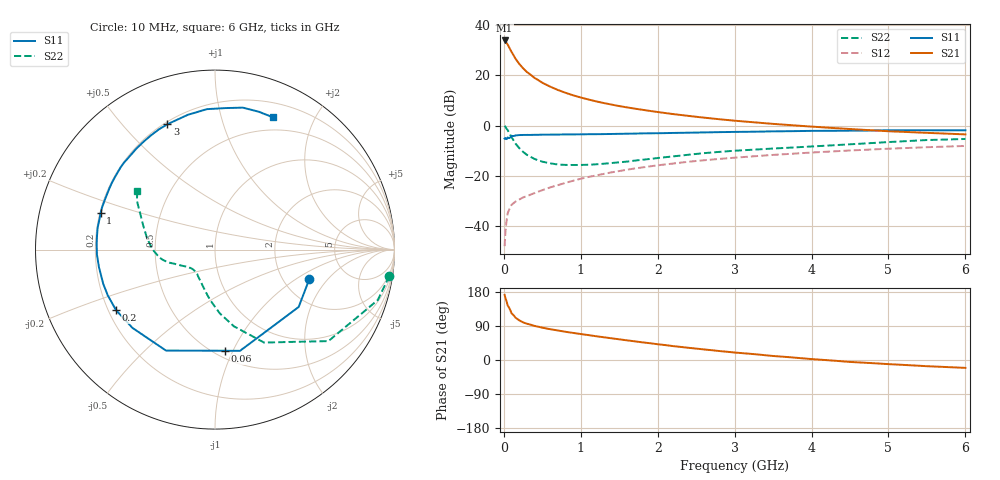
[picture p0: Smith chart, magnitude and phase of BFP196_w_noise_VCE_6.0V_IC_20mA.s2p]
! Infineon Technologies  Discrete & RF Semiconductors
! BFP196
! VCE =  6.0 V,  IC =  20 mA
! Common Emitter S-Parameters:  Jan 2017
# GHz  S  MA  R  50
!  f  S11  S21  S12  S22
! GHz  MAG  ANG  MAG  ANG  MAG  ANG  MAG  ANG
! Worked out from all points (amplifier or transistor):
!   77 points, 10 MHz to 6 GHz, reference 50 ohm
!   highest |S21| = 33.8 dB at 10 MHz (marker M1)
!   |S21| within 3 dB of that: start of sweep to 73.41 MHz
!   unconditionally stable (mu >= 1): 793.9 MHz to 2.384 GHz
!   at 130 MHz: K = 0.37, MSG = 29.2 dB, |S12| = -30.8 dB
!   at 2.2 GHz: K = 1.02, MAG = 9.1 dB, |S12| = -15.1 dB
!   at 6 GHz: K = 0.92, MSG = 2.3 dB, |S12| = -8.1 dB
!   lowest NFmin = 1.10 dB at 450 MHz
!   S11 on the Smith chart (normalised r, x): 10 MHz: 2.75, -1.31; 60 MHz: 0.56, -0.93; 200 MHz: 0.23, -0.27; 1 GHz: 0.20, +0.15; 3 GHz: 0.21, +0.67; 6 GHz: 0.35, +1.47
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0.01  0.5505 -17.6  49.11 171.7  0.004 83.3  0.9827 -8.6
0.02  0.5652 -34.4  48.25 164.0  0.0074 80.8  0.9495 -17.2
0.05  0.5809 -76.1  40.79 143.9  0.0181 60.8  0.812 -38.9
0.06  0.5665 -84.2  38.13 140.8  0.0197 57.9  0.7585 -42.4
0.1  0.6253 -115.9  29.08 123.2  0.0265 49.8  0.5853 -62.2
0.15  0.6339 -136.5  21.47 111.9  0.0307 45.0  0.4407 -76.1
0.2  0.6464 -148.6  16.82 104.7  0.0338 45.3  0.3562 -85.7
0.25  0.6496 -157.0  13.74 99.3  0.0372 45.1  0.2996 -92.7
0.3  0.6512 -162.9  11.58 95.7  0.0395 46.8  0.2613 -98.8
0.4  0.6539 -171.3  8.825 89.8  0.0455 49.7  0.2162 -107.9
0.5  0.6584 -177.6  7.096 85.3  0.0519 52.6  0.1913 -115.4
0.6  0.6599 177.4  5.954 81.4  0.0588 54.3  0.1778 -121.5
0.7  0.6619 173.3  5.112 78.0  0.0651 56.2  0.168 -126.3
1  0.6687 162.4  3.61 68.5  0.0875 58.1  0.1647 -137.6
1.1  0.6718 159.3  3.292 65.7  0.095 57.9  0.1662 -139.8
1.5  0.684 147.3  2.437 54.6  0.1245 56.3  0.1859 -149.5
2.1  0.707 130.9  1.771 39.3  0.1687 50.9  0.2346 -159.9
3  0.7471 110.8  1.248 19.7  0.2293 41.0  0.3158 -172.6
3.1  0.7493 108.9  1.212 18.1  0.2354 39.8  0.322 -174.3
4.1  0.7841 91.8  0.931 1.0  0.296 28.6  0.3909 168.5
5.1  0.8052 77.6  0.759 -11.9  0.3509 17.1  0.478 152.1
6  0.8046 66.3  0.667 -20.8  0.3931 6.8  0.5407 143.0
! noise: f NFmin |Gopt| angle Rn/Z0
0.45  1.1  0.34  159  0.05
0.9  1.3  0.47  179  0.06
1.9  2.2  0.68  -137  0.24
2.4  2.65  0.72  -122  0.59
